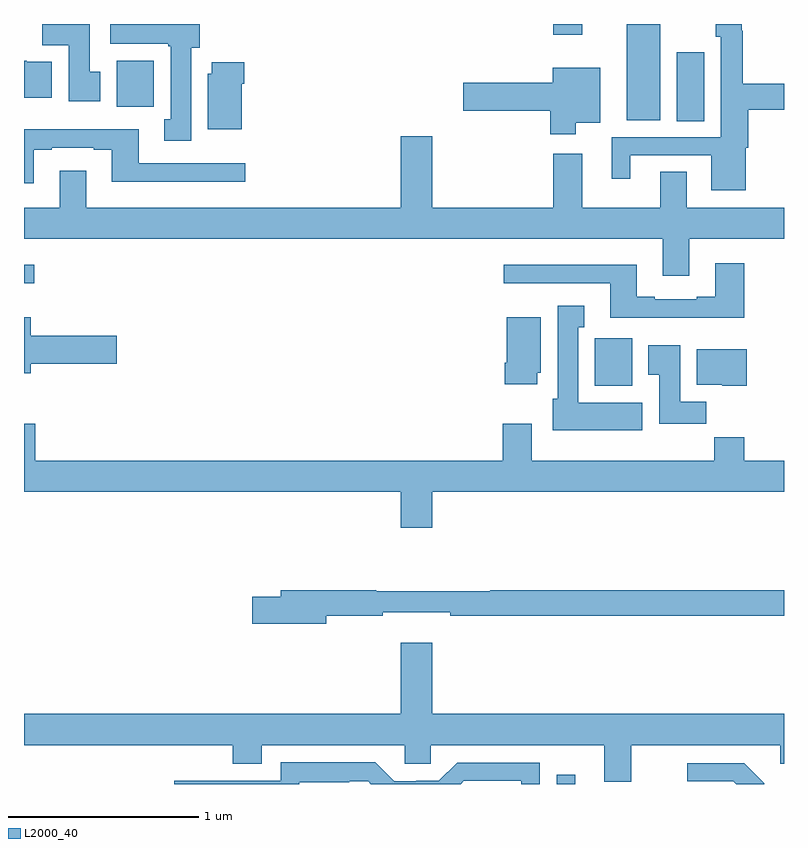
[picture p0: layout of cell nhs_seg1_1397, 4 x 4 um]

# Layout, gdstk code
import gdstk
lib = gdstk.Library(unit=1e-6, precision=1e-09)
def R(c, l, rs):  # rectangles x0, y0, x1, y1
    for r in rs: c.add(gdstk.rectangle(r[:2], r[2:], *l))
def P(c, l, *ps):  # polygons
    for p in ps: c.add(gdstk.Polygon(p, *l))
L2000_40 = (2000, 40)

nhs_seg1_1397 = lib.new_cell('nhs_seg1_1397')
R(nhs_seg1_1397, L2000_40, [(189.805,546.199,189.901,546.247), (190.005,548.294,190.201,548.544), (187,548.835,187.054,548.932), (190.436,549.688,190.579,550.051), (190.172,549.692,190.348,550.199), (187.487,549.764,187.684,550.006), (189.785,550.143,189.937,550.199)])
P(nhs_seg1_1397, L2000_40, [(187.879,550.074),(187.924,550.074),(187.924,550.199),(187.455,550.199),(187.455,550.094),(187.759,550.094),(187.759,550.081),(187.772,550.081),(187.772,549.698),(187.739,549.698),(187.739,549.585),(187.879,549.585)],
  [(187.402,549.948),(187.345,549.948),(187.345,550.199),(187.096,550.199),(187.096,550.088),(187.235,550.088),(187.235,549.792),(187.402,549.792)],
  [(190.798,549.549),(190.811,549.549),(190.811,549.748),(191,549.748),(191,549.884),(190.784,549.884),(190.784,550.163),(190.777,550.163),(190.777,550.199),(190.642,550.199),(190.642,550.131),(190.668,550.131),(190.668,549.603),(190.094,549.603),(190.094,549.384),(190.192,549.384),(190.192,549.507),(190.616,549.507),(190.616,549.323),(190.798,549.323)],
  [(187.147,550),(187.014,550),(187.014,550.006),(187,550.006),(187,549.812),(187.147,549.812)],
  [(188.146,549.884),(188.159,549.884),(188.159,549.997),(187.988,549.997),(187.988,549.936),(187.967,549.936),(187.967,549.644),(188.146,549.644)],
  [(189.904,549.68),(190.033,549.68),(190.033,549.97),(189.782,549.97),(189.782,549.89),(189.312,549.89),(189.312,549.743),(189.77,549.743),(189.77,549.618),(189.904,549.618)],
  [(187.051,549.537),(187.147,549.537),(187.147,549.549),(187.367,549.549),(187.367,549.537),(187.463,549.537),(187.463,549.368),(188.164,549.368),(188.164,549.465),(187.603,549.465),(187.603,549.646),(187,549.646),(187,549.36),(187.051,549.36)],
  [(190.501,549.068),(191,549.068),(191,549.232),(190.489,549.232),(190.489,549.422),(190.349,549.422),(190.349,549.232),(189.937,549.232),(189.937,549.517),(189.785,549.517),(189.785,549.232),(189.148,549.232),(189.148,549.607),(188.984,549.607),(188.984,549.232),(187.327,549.232),(187.327,549.427),(187.187,549.427),(187.187,549.232),(187,549.232),(187,549.068),(190.361,549.068),(190.361,548.874),(190.501,548.874)],
  [(190.79,548.941),(190.637,548.941),(190.637,548.764),(190.541,548.764),(190.541,548.751),(190.321,548.751),(190.321,548.764),(190.225,548.764),(190.225,548.932),(189.525,548.932),(189.525,548.835),(190.085,548.835),(190.085,548.654),(190.79,548.654)],
  [(190.255,548.206),(189.916,548.206),(189.916,548.603),(189.949,548.603),(189.949,548.716),(189.809,548.716),(189.809,548.226),(189.782,548.226),(189.782,548.06),(190.255,548.06)],
  [(187.036,548.411),(187.489,548.411),(187.489,548.558),(187.036,548.558),(187.036,548.656),(187,548.656),(187,548.36),(187.036,548.36)],
  [(189.7,548.364),(189.721,548.364),(189.721,548.656),(189.542,548.656),(189.542,548.416),(189.53,548.416),(189.53,548.304),(189.7,548.304)],
  [(190.592,548.212),(190.453,548.212),(190.453,548.509),(190.286,548.509),(190.286,548.353),(190.343,548.353),(190.343,548.094),(190.592,548.094)],
  [(190.805,548.488),(190.541,548.488),(190.541,548.3),(190.674,548.3),(190.674,548.294),(190.805,548.294)],
  [(189.148,547.736),(191,547.736),(191,547.9),(190.79,547.9),(190.79,548.024),(190.633,548.024),(190.633,547.9),(189.673,547.9),(189.673,548.095),(189.521,548.095),(189.521,547.9),(187.058,547.9),(187.058,548.095),(187,548.095),(187,547.736),(188.984,547.736),(188.984,547.548),(189.148,547.548)],
  [(188.59,547.084),(188.888,547.084),(188.888,547.103),(189.244,547.103),(189.244,547.084),(191,547.084),(191,547.22),(189.455,547.22),(189.455,547.213),(188.855,547.213),(188.855,547.22),(188.351,547.22),(188.351,547.184),(188.202,547.184),(188.202,547.042),(188.59,547.042)],
  [(190.195,546.404),(190.979,546.404),(190.979,546.305),(191,546.305),(191,546.568),(189.148,546.568),(189.148,546.943),(188.984,546.943),(188.984,546.568),(187,546.568),(187,546.404),(188.099,546.404),(188.099,546.305),(188.251,546.305),(188.251,546.404),(189.003,546.404),(189.003,546.306),(189.141,546.306),(189.141,546.404),(190.055,546.404),(190.055,546.21),(190.195,546.21)],
  [(188.448,546.209),(188.711,546.209),(188.711,546.213),(188.811,546.213),(188.825,546.199),(189.298,546.199),(189.315,546.216),(189.618,546.216),(189.618,546.199),(189.714,546.199),(189.714,546.312),(189.279,546.312),(189.183,546.216),(189.065,546.216),(189.065,546.213),(188.949,546.213),(188.849,546.313),(188.352,546.313),(188.352,546.216),(187.791,546.216),(187.791,546.199),(188.448,546.199)],
  [(190.897,546.203),(190.791,546.309),(190.491,546.309),(190.491,546.213),(190.734,546.213),(190.748,546.199),(190.897,546.199)])

lib.write_gds('nhs_seg1_1397.gds')
